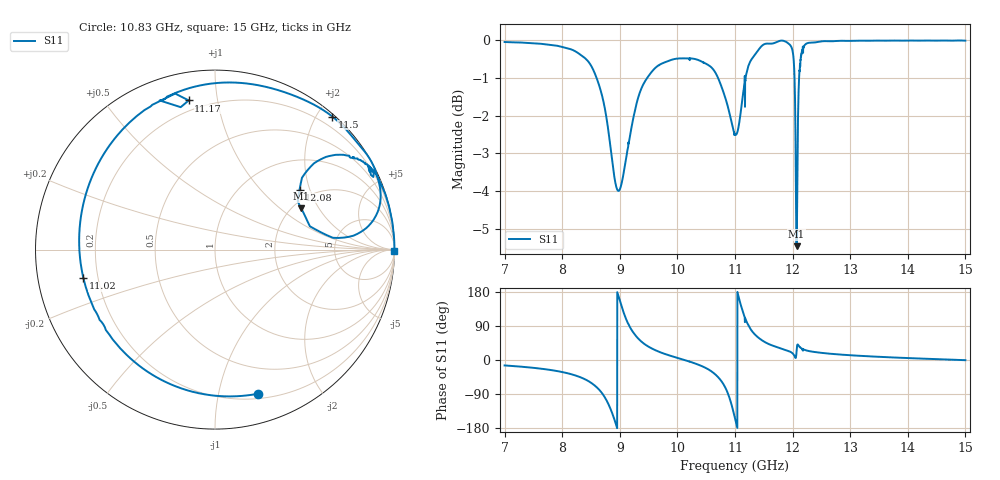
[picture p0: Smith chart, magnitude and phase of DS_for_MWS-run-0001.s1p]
! TOUCHSTONE file generated by CST DESIGN STUDIO
! Date and time: Mon Feb 10 16:52:14 2025
! Project name: C:\Work\MatlabApps\UnitCellType2OptimizationMatlab\CST\unitcell.cst
! Tree item: Tasks\Sweep1\SPara1\S-Parameters
! Header version: 2024
! Port assignment regex: !\s*Touchstone port\s*([0-9]+)\s*=\s*(CST MWS port|CST DES external port|CST DES block port)\s*(.+)\s* \(\"(.*)\"\)(\s*mode\s*([0-9]+))?.*
! Touchstone port assignment:
! Touchstone port 1 = CST DES external port 1 ("")
# GHz S MA R 50
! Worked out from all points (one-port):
!   4001 points, 7 GHz to 15 GHz, reference 50 ohm
!   lowest |S11| = -5.5 dB at 12.07 GHz (marker M1), VSWR 3.28, Z = 111 + j71.4 ohm
!   |S11| at or under -10 dB: nowhere
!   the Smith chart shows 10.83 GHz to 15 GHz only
!   S11 on the Smith chart (normalised r, x): 10.83 GHz: 0.24, -1.31; 11.02 GHz: 0.14, -0.10; 11.17 GHz: 0.14, +0.83; 11.5 GHz: 0.03, +2.21; 12.08 GHz: 1.70, +1.71; 15 GHz: open
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7  0.9953 -14.3
8  0.9803 -31.8
8.43  0.9419 -53.5
8.71  0.8335 -91.5
8.886  0.6744 -148.0
9  0.634 156.9
9.158  0.7327 92.5
9.404  0.8732 44.9
9.648  0.9239 23.8
10  0.9461 5.5
10.566  0.9242 -27.4
10.718  0.8871 -47.2
10.834  0.8379 -73.5
10.922  0.7896 -108.5
11  0.7509 -153.7
11.022  0.7501 -167.8
11.088  0.791 152.1
11.172  0.8438 100.0
11.318  0.951 71.8
11.504  0.9884 48.6
12  0.9681 17.6
12.07  0.5329 25.7
12.076  0.5772 35.3
12.128  0.9301 33.7
12.282  0.9928 23.6
13  0.9987 12.6
14  0.9998 5.1
15  0.9994 -0.5
